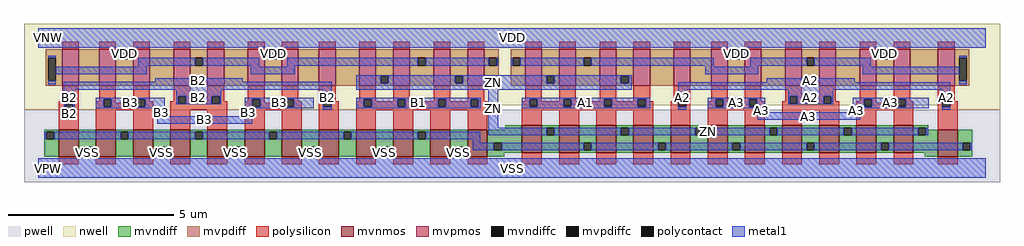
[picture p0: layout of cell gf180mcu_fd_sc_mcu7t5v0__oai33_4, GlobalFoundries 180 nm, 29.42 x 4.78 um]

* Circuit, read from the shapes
.subckt gf180mcu_fd_sc_mcu7t5v0__oai33_4 A1 A2 A3 B1 B2 B3 ZN VDD VNW VPW VSS
XM1 VSS B2 n1 VPW nfet_06v0 w=0.82u l=0.6u m=4
XM2 n1 B3 VSS VPW nfet_06v0 w=0.82u l=0.6u m=4
XM3 VSS B1 n1 VPW nfet_06v0 w=0.82u l=0.6u m=4
XM4 ZN A1 n1 VPW nfet_06v0 w=0.82u l=0.6u m=4
XM5 ZN A2 n1 VPW nfet_06v0 w=0.82u l=0.6u m=4
XM6 n1 A3 ZN VPW nfet_06v0 w=0.82u l=0.6u m=4
XM7 n2 B2 n3 VNW pfet_06v0 w=1.095u l=0.5u
XM8 VDD B3 n2 VNW pfet_06v0 w=1.095u l=0.5u
XM9 n4 B3 VDD VNW pfet_06v0 w=1.095u l=0.5u
XM10 n3 B2 n4 VNW pfet_06v0 w=1.095u l=0.5u
XM11 n5 B2 n3 VNW pfet_06v0 w=1.095u l=0.5u
XM12 VDD B3 n5 VNW pfet_06v0 w=1.095u l=0.5u
XM13 n6 B3 VDD VNW pfet_06v0 w=1.095u l=0.5u
XM14 n7 B2 n6 VNW pfet_06v0 w=1.095u l=0.5u
XM15 ZN B1 n7 VNW pfet_06v0 w=1.095u l=0.5u
XM16 n3 B1 ZN VNW pfet_06v0 w=1.095u l=0.5u m=3
XM17 ZN A1 n8 VNW pfet_06v0 w=1.095u l=0.5u m=3
XM18 n9 A1 ZN VNW pfet_06v0 w=1.095u l=0.5u
XM19 n10 A2 n9 VNW pfet_06v0 w=1.095u l=0.5u
XM20 VDD A3 n10 VNW pfet_06v0 w=1.095u l=0.5u
XM21 n11 A3 VDD VNW pfet_06v0 w=1.095u l=0.5u
XM22 n8 A2 n11 VNW pfet_06v0 w=1.095u l=0.5u
XM23 n12 A2 n8 VNW pfet_06v0 w=1.095u l=0.5u
XM24 VDD A3 n12 VNW pfet_06v0 w=1.095u l=0.5u
XM25 n13 A3 VDD VNW pfet_06v0 w=1.095u l=0.5u
XM26 n8 A2 n13 VNW pfet_06v0 w=1.095u l=0.5u
.ends

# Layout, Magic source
magic
tech gf180mcuD
magscale 1 10
<< nwell >>
rect -86 377 5798 870
rect -86 352 2710 377
rect 5447 352 5798 377
<< pwell >>
rect -86 -86 5798 352
<< mvnmos >>
rect 124 68 244 232
rect 348 68 468 232
rect 572 68 692 232
rect 796 68 916 232
rect 1020 68 1140 232
rect 1244 68 1364 232
rect 1468 68 1588 232
rect 1692 68 1812 232
rect 1916 68 2036 232
rect 2140 68 2260 232
rect 2364 68 2484 232
rect 2588 68 2708 232
rect 2916 93 3036 257
rect 3140 93 3260 257
rect 3364 93 3484 257
rect 3588 93 3708 257
rect 3812 93 3932 257
rect 4036 93 4156 257
rect 4260 93 4380 257
rect 4484 93 4604 257
rect 4708 93 4828 257
rect 4932 93 5052 257
rect 5156 93 5276 257
rect 5424 68 5544 232
<< mvpmos >>
rect 144 497 244 716
rect 368 497 468 716
rect 572 497 672 716
rect 816 497 916 716
rect 1020 497 1120 716
rect 1264 497 1364 716
rect 1468 497 1568 716
rect 1692 497 1792 716
rect 1936 497 2036 716
rect 2140 497 2240 716
rect 2384 497 2484 716
rect 2588 497 2688 716
rect 2936 497 3036 716
rect 3140 497 3240 716
rect 3384 497 3484 716
rect 3588 497 3688 716
rect 3832 497 3932 716
rect 4056 497 4156 716
rect 4260 497 4360 716
rect 4504 497 4604 716
rect 4708 497 4808 716
rect 4952 497 5052 716
rect 5156 497 5256 716
rect 5424 497 5524 716
<< mvndiff >>
rect 2816 232 2916 257
rect 36 219 124 232
rect 36 173 49 219
rect 95 173 124 219
rect 36 68 124 173
rect 244 127 348 232
rect 244 81 273 127
rect 319 81 348 127
rect 244 68 348 81
rect 468 219 572 232
rect 468 173 497 219
rect 543 173 572 219
rect 468 68 572 173
rect 692 127 796 232
rect 692 81 721 127
rect 767 81 796 127
rect 692 68 796 81
rect 916 219 1020 232
rect 916 173 945 219
rect 991 173 1020 219
rect 916 68 1020 173
rect 1140 127 1244 232
rect 1140 81 1169 127
rect 1215 81 1244 127
rect 1140 68 1244 81
rect 1364 219 1468 232
rect 1364 173 1393 219
rect 1439 173 1468 219
rect 1364 68 1468 173
rect 1588 127 1692 232
rect 1588 81 1617 127
rect 1663 81 1692 127
rect 1588 68 1692 81
rect 1812 219 1916 232
rect 1812 173 1841 219
rect 1887 173 1916 219
rect 1812 68 1916 173
rect 2036 127 2140 232
rect 2036 81 2065 127
rect 2111 81 2140 127
rect 2036 68 2140 81
rect 2260 219 2364 232
rect 2260 173 2289 219
rect 2335 173 2364 219
rect 2260 68 2364 173
rect 2484 127 2588 232
rect 2484 81 2513 127
rect 2559 81 2588 127
rect 2484 68 2588 81
rect 2708 152 2916 232
rect 2708 106 2747 152
rect 2793 106 2916 152
rect 2708 93 2916 106
rect 3036 244 3140 257
rect 3036 198 3065 244
rect 3111 198 3140 244
rect 3036 93 3140 198
rect 3260 152 3364 257
rect 3260 106 3289 152
rect 3335 106 3364 152
rect 3260 93 3364 106
rect 3484 244 3588 257
rect 3484 198 3513 244
rect 3559 198 3588 244
rect 3484 93 3588 198
rect 3708 152 3812 257
rect 3708 106 3737 152
rect 3783 106 3812 152
rect 3708 93 3812 106
rect 3932 244 4036 257
rect 3932 198 3961 244
rect 4007 198 4036 244
rect 3932 93 4036 198
rect 4156 152 4260 257
rect 4156 106 4185 152
rect 4231 106 4260 152
rect 4156 93 4260 106
rect 4380 244 4484 257
rect 4380 198 4409 244
rect 4455 198 4484 244
rect 4380 93 4484 198
rect 4604 152 4708 257
rect 4604 106 4633 152
rect 4679 106 4708 152
rect 4604 93 4708 106
rect 4828 244 4932 257
rect 4828 198 4857 244
rect 4903 198 4932 244
rect 4828 93 4932 198
rect 5052 152 5156 257
rect 5052 106 5081 152
rect 5127 106 5156 152
rect 5052 93 5156 106
rect 5276 244 5364 257
rect 5276 198 5305 244
rect 5351 232 5364 244
rect 5351 198 5424 232
rect 5276 93 5424 198
rect 2708 68 2808 93
rect 5344 68 5424 93
rect 5544 152 5632 232
rect 5544 106 5573 152
rect 5619 106 5632 152
rect 5544 68 5632 106
<< mvpdiff >>
rect 46 665 144 716
rect 46 525 59 665
rect 105 525 144 665
rect 46 497 144 525
rect 244 497 368 716
rect 468 703 572 716
rect 468 657 497 703
rect 543 657 572 703
rect 468 497 572 657
rect 672 497 816 716
rect 916 664 1020 716
rect 916 618 945 664
rect 991 618 1020 664
rect 916 497 1020 618
rect 1120 497 1264 716
rect 1364 703 1468 716
rect 1364 657 1393 703
rect 1439 657 1468 703
rect 1364 497 1468 657
rect 1568 497 1692 716
rect 1792 497 1936 716
rect 2036 556 2140 716
rect 2036 510 2065 556
rect 2111 510 2140 556
rect 2036 497 2140 510
rect 2240 664 2384 716
rect 2240 618 2289 664
rect 2335 618 2384 664
rect 2240 497 2384 618
rect 2484 556 2588 716
rect 2484 510 2513 556
rect 2559 510 2588 556
rect 2484 497 2588 510
rect 2688 664 2776 716
rect 2688 618 2717 664
rect 2763 618 2776 664
rect 2688 497 2776 618
rect 2848 664 2936 716
rect 2848 618 2861 664
rect 2907 618 2936 664
rect 2848 497 2936 618
rect 3036 556 3140 716
rect 3036 510 3065 556
rect 3111 510 3140 556
rect 3036 497 3140 510
rect 3240 664 3384 716
rect 3240 618 3289 664
rect 3335 618 3384 664
rect 3240 497 3384 618
rect 3484 556 3588 716
rect 3484 510 3513 556
rect 3559 510 3588 556
rect 3484 497 3588 510
rect 3688 497 3832 716
rect 3932 497 4056 716
rect 4156 703 4260 716
rect 4156 657 4185 703
rect 4231 657 4260 703
rect 4156 497 4260 657
rect 4360 497 4504 716
rect 4604 664 4708 716
rect 4604 618 4633 664
rect 4679 618 4708 664
rect 4604 497 4708 618
rect 4808 497 4952 716
rect 5052 703 5156 716
rect 5052 657 5081 703
rect 5127 657 5156 703
rect 5052 497 5156 657
rect 5256 497 5424 716
rect 5524 665 5612 716
rect 5524 525 5553 665
rect 5599 525 5612 665
rect 5524 497 5612 525
<< mvndiffc >>
rect 49 173 95 219
rect 273 81 319 127
rect 497 173 543 219
rect 721 81 767 127
rect 945 173 991 219
rect 1169 81 1215 127
rect 1393 173 1439 219
rect 1617 81 1663 127
rect 1841 173 1887 219
rect 2065 81 2111 127
rect 2289 173 2335 219
rect 2513 81 2559 127
rect 2747 106 2793 152
rect 3065 198 3111 244
rect 3289 106 3335 152
rect 3513 198 3559 244
rect 3737 106 3783 152
rect 3961 198 4007 244
rect 4185 106 4231 152
rect 4409 198 4455 244
rect 4633 106 4679 152
rect 4857 198 4903 244
rect 5081 106 5127 152
rect 5305 198 5351 244
rect 5573 106 5619 152
<< mvpdiffc >>
rect 59 525 105 665
rect 497 657 543 703
rect 945 618 991 664
rect 1393 657 1439 703
rect 2065 510 2111 556
rect 2289 618 2335 664
rect 2513 510 2559 556
rect 2717 618 2763 664
rect 2861 618 2907 664
rect 3065 510 3111 556
rect 3289 618 3335 664
rect 3513 510 3559 556
rect 4185 657 4231 703
rect 4633 618 4679 664
rect 5081 657 5127 703
rect 5553 525 5599 665
<< polysilicon >>
rect 144 716 244 760
rect 368 716 468 760
rect 572 716 672 760
rect 816 716 916 760
rect 1020 716 1120 760
rect 1264 716 1364 760
rect 1468 716 1568 760
rect 1692 716 1792 760
rect 1936 716 2036 760
rect 2140 716 2240 760
rect 2384 716 2484 760
rect 2588 716 2688 760
rect 2936 716 3036 760
rect 3140 716 3240 760
rect 3384 716 3484 760
rect 3588 716 3688 760
rect 3832 716 3932 760
rect 4056 716 4156 760
rect 4260 716 4360 760
rect 4504 716 4604 760
rect 4708 716 4808 760
rect 4952 716 5052 760
rect 5156 716 5256 760
rect 5424 716 5524 760
rect 144 402 244 497
rect 368 415 468 497
rect 368 402 395 415
rect 124 383 244 402
rect 124 337 164 383
rect 210 337 244 383
rect 124 232 244 337
rect 348 369 395 402
rect 441 394 468 415
rect 572 415 672 497
rect 572 394 599 415
rect 441 369 599 394
rect 645 402 672 415
rect 816 433 916 497
rect 816 402 843 433
rect 645 369 692 402
rect 348 348 692 369
rect 348 232 468 348
rect 572 232 692 348
rect 796 387 843 402
rect 889 394 916 433
rect 1020 433 1120 497
rect 1020 394 1047 433
rect 889 387 1047 394
rect 1093 402 1120 433
rect 1264 415 1364 497
rect 1264 402 1291 415
rect 1093 387 1140 402
rect 796 348 1140 387
rect 796 232 916 348
rect 1020 232 1140 348
rect 1244 369 1291 402
rect 1337 394 1364 415
rect 1468 415 1568 497
rect 1468 394 1495 415
rect 1337 369 1495 394
rect 1541 402 1568 415
rect 1692 415 1792 497
rect 1541 369 1588 402
rect 1244 348 1588 369
rect 1244 232 1364 348
rect 1468 232 1588 348
rect 1692 369 1719 415
rect 1765 402 1792 415
rect 1936 415 2036 497
rect 1936 402 1963 415
rect 1765 369 1812 402
rect 1692 232 1812 369
rect 1916 369 1963 402
rect 2009 402 2036 415
rect 2140 415 2240 497
rect 2140 402 2167 415
rect 2009 369 2167 402
rect 2213 402 2240 415
rect 2384 415 2484 497
rect 2384 402 2411 415
rect 2213 369 2411 402
rect 2457 402 2484 415
rect 2588 415 2688 497
rect 2588 402 2608 415
rect 2457 369 2608 402
rect 2654 402 2688 415
rect 2936 415 3036 497
rect 2936 402 2963 415
rect 2654 369 2708 402
rect 1916 348 2708 369
rect 1916 232 2036 348
rect 2140 232 2260 348
rect 2364 232 2484 348
rect 2588 232 2708 348
rect 2916 369 2963 402
rect 3009 402 3036 415
rect 3140 415 3240 497
rect 3140 402 3167 415
rect 3009 369 3167 402
rect 3213 402 3240 415
rect 3384 415 3484 497
rect 3384 402 3411 415
rect 3213 369 3411 402
rect 3457 402 3484 415
rect 3588 415 3688 497
rect 3588 402 3615 415
rect 3457 369 3615 402
rect 3661 402 3688 415
rect 3832 415 3932 497
rect 3832 402 3859 415
rect 3661 369 3708 402
rect 2916 348 3708 369
rect 2916 257 3036 348
rect 3140 257 3260 348
rect 3364 257 3484 348
rect 3588 257 3708 348
rect 3812 369 3859 402
rect 3905 369 3932 415
rect 4056 415 4156 497
rect 4056 402 4083 415
rect 3812 257 3932 369
rect 4036 369 4083 402
rect 4129 394 4156 415
rect 4260 415 4360 497
rect 4260 394 4287 415
rect 4129 369 4287 394
rect 4333 402 4360 415
rect 4504 433 4604 497
rect 4504 402 4531 433
rect 4333 369 4380 402
rect 4036 348 4380 369
rect 4036 257 4156 348
rect 4260 257 4380 348
rect 4484 387 4531 402
rect 4577 394 4604 433
rect 4708 433 4808 497
rect 4708 394 4735 433
rect 4577 387 4735 394
rect 4781 402 4808 433
rect 4952 415 5052 497
rect 4952 402 4979 415
rect 4781 387 4828 402
rect 4484 348 4828 387
rect 4484 257 4604 348
rect 4708 257 4828 348
rect 4932 369 4979 402
rect 5025 394 5052 415
rect 5156 415 5256 497
rect 5156 394 5183 415
rect 5025 369 5183 394
rect 5229 402 5256 415
rect 5424 415 5524 497
rect 5229 369 5276 402
rect 4932 348 5276 369
rect 4932 257 5052 348
rect 5156 257 5276 348
rect 5424 369 5451 415
rect 5497 402 5524 415
rect 5497 369 5544 402
rect 5424 232 5544 369
rect 124 24 244 68
rect 348 24 468 68
rect 572 24 692 68
rect 796 24 916 68
rect 1020 24 1140 68
rect 1244 24 1364 68
rect 1468 24 1588 68
rect 1692 24 1812 68
rect 1916 24 2036 68
rect 2140 24 2260 68
rect 2364 24 2484 68
rect 2588 24 2708 68
rect 2916 24 3036 93
rect 3140 24 3260 93
rect 3364 24 3484 93
rect 3588 24 3708 93
rect 3812 24 3932 93
rect 4036 24 4156 93
rect 4260 24 4380 93
rect 4484 24 4604 93
rect 4708 24 4828 93
rect 4932 24 5052 93
rect 5156 24 5276 93
rect 5424 24 5544 68
<< polycontact >>
rect 164 337 210 383
rect 395 369 441 415
rect 599 369 645 415
rect 843 387 889 433
rect 1047 387 1093 433
rect 1291 369 1337 415
rect 1495 369 1541 415
rect 1719 369 1765 415
rect 1963 369 2009 415
rect 2167 369 2213 415
rect 2411 369 2457 415
rect 2608 369 2654 415
rect 2963 369 3009 415
rect 3167 369 3213 415
rect 3411 369 3457 415
rect 3615 369 3661 415
rect 3859 369 3905 415
rect 4083 369 4129 415
rect 4287 369 4333 415
rect 4531 387 4577 433
rect 4735 387 4781 433
rect 4979 369 5025 415
rect 5183 369 5229 415
rect 5451 369 5497 415
<< metal1 >>
rect 0 724 5712 844
rect 486 703 554 724
rect 59 665 105 676
rect 486 657 497 703
rect 543 657 554 703
rect 1382 703 1450 724
rect 604 618 945 664
rect 991 618 1332 664
rect 1382 657 1393 703
rect 1439 657 1450 703
rect 4174 703 4242 724
rect 604 611 654 618
rect 105 565 654 611
rect 1282 611 1332 618
rect 1500 618 2289 664
rect 2335 618 2717 664
rect 2763 618 2774 664
rect 2848 618 2861 664
rect 2907 618 3289 664
rect 3335 618 4071 664
rect 4174 657 4185 703
rect 4231 657 4242 703
rect 5070 703 5138 724
rect 1500 611 1546 618
rect 1282 565 1546 611
rect 4022 611 4071 618
rect 4292 618 4633 664
rect 4679 618 5020 664
rect 5070 657 5081 703
rect 5127 657 5138 703
rect 5553 665 5599 676
rect 4292 611 4341 618
rect 4022 565 4341 611
rect 4971 611 5020 618
rect 4971 565 5553 611
rect 1916 556 3578 559
rect 59 506 105 525
rect 704 519 1232 540
rect 155 472 1768 519
rect 1916 510 2065 556
rect 2111 510 2513 556
rect 2559 510 3065 556
rect 3111 510 3513 556
rect 3559 510 3578 556
rect 4391 518 4921 542
rect 1916 472 3578 510
rect 3858 472 5498 518
rect 5553 506 5599 525
rect 155 383 219 472
rect 832 433 1104 472
rect 155 337 164 383
rect 210 337 219 383
rect 348 415 764 424
rect 348 369 395 415
rect 441 369 599 415
rect 645 369 764 415
rect 832 387 843 433
rect 889 387 1047 433
rect 1093 387 1104 433
rect 832 384 1104 387
rect 1244 415 1662 424
rect 348 360 764 369
rect 155 306 219 337
rect 718 313 764 360
rect 1244 369 1291 415
rect 1337 369 1495 415
rect 1541 369 1662 415
rect 1244 360 1662 369
rect 1716 415 1768 472
rect 1716 369 1719 415
rect 1765 369 1768 415
rect 1244 313 1290 360
rect 1716 352 1768 369
rect 1916 415 2668 424
rect 1916 369 1963 415
rect 2009 369 2167 415
rect 2213 369 2411 415
rect 2457 369 2608 415
rect 2654 369 2668 415
rect 1916 360 2668 369
rect 718 267 1290 313
rect 2714 244 2774 472
rect 2916 415 3688 424
rect 2916 369 2963 415
rect 3009 369 3167 415
rect 3213 369 3411 415
rect 3457 369 3615 415
rect 3661 369 3688 415
rect 2916 360 3688 369
rect 3858 415 3906 472
rect 4520 433 4792 472
rect 3858 369 3859 415
rect 3905 369 3906 415
rect 3858 352 3906 369
rect 4036 415 4383 424
rect 4036 369 4083 415
rect 4129 369 4287 415
rect 4333 369 4383 415
rect 4520 387 4531 433
rect 4577 387 4735 433
rect 4781 387 4792 433
rect 4520 384 4792 387
rect 4909 415 5367 424
rect 4036 360 4383 369
rect 4337 336 4383 360
rect 4909 369 4979 415
rect 5025 369 5183 415
rect 5229 369 5367 415
rect 4909 360 5367 369
rect 5450 415 5498 472
rect 5450 369 5451 415
rect 5497 369 5498 415
rect 4909 336 4955 360
rect 5450 352 5498 369
rect 4337 290 4955 336
rect 36 173 49 219
rect 95 173 497 219
rect 543 173 945 219
rect 991 173 1393 219
rect 1439 173 1841 219
rect 1887 173 2289 219
rect 2335 173 2666 219
rect 2714 198 3065 244
rect 3111 198 3513 244
rect 3559 198 3961 244
rect 4007 198 4409 244
rect 4455 198 4857 244
rect 4903 198 5305 244
rect 5351 198 5364 244
rect 2620 152 2666 173
rect 262 81 273 127
rect 319 81 330 127
rect 262 60 330 81
rect 710 81 721 127
rect 767 81 778 127
rect 710 60 778 81
rect 1158 81 1169 127
rect 1215 81 1226 127
rect 1158 60 1226 81
rect 1606 81 1617 127
rect 1663 81 1674 127
rect 1606 60 1674 81
rect 2054 81 2065 127
rect 2111 81 2122 127
rect 2054 60 2122 81
rect 2502 81 2513 127
rect 2559 81 2570 127
rect 2620 106 2747 152
rect 2793 106 3289 152
rect 3335 106 3737 152
rect 3783 106 4185 152
rect 4231 106 4633 152
rect 4679 106 5081 152
rect 5127 106 5573 152
rect 5619 106 5632 152
rect 2502 60 2570 81
rect 0 -60 5712 60
<< labels >>
flabel metal1 s 4909 360 5367 424 0 FreeSans 400 0 0 0 A3
port 3 nsew default input
flabel metal1 s 1916 360 2668 424 0 FreeSans 400 0 0 0 B1
port 4 nsew default input
flabel metal1 s 704 519 1232 540 0 FreeSans 400 0 0 0 B2
port 5 nsew default input
flabel metal1 s 1244 360 1662 424 0 FreeSans 400 0 0 0 B3
port 6 nsew default input
flabel metal1 s 0 724 5712 844 0 FreeSans 400 0 0 0 VDD
port 8 nsew power bidirectional abutment
flabel metal1 s 2502 60 2570 127 0 FreeSans 400 0 0 0 VSS
port 11 nsew ground bidirectional abutment
flabel metal1 s 1916 472 3578 559 0 FreeSans 400 0 0 0 ZN
port 7 nsew default output
flabel metal1 s 2916 360 3688 424 0 FreeSans 400 0 0 0 A1
port 1 nsew default input
flabel metal1 s 4391 518 4921 542 0 FreeSans 400 0 0 0 A2
port 2 nsew default input
flabel nwell s 10 734 110 834 0 FreeSans 400 0 0 0 VNW
port 9 nsew power bidirectional
flabel pwell s 10 -50 110 50 0 FreeSans 400 0 0 0 VPW
port 10 nsew ground bidirectional
rlabel metal1 s 3858 472 5498 518 1 A2
port 2 nsew default input
rlabel metal1 s 5450 384 5498 472 1 A2
port 2 nsew default input
rlabel metal1 s 4520 384 4792 472 1 A2
port 2 nsew default input
rlabel metal1 s 3858 384 3906 472 1 A2
port 2 nsew default input
rlabel metal1 s 5450 352 5498 384 1 A2
port 2 nsew default input
rlabel metal1 s 3858 352 3906 384 1 A2
port 2 nsew default input
rlabel metal1 s 4036 360 4383 424 1 A3
port 3 nsew default input
rlabel metal1 s 4909 336 4955 360 1 A3
port 3 nsew default input
rlabel metal1 s 4337 336 4383 360 1 A3
port 3 nsew default input
rlabel metal1 s 4337 290 4955 336 1 A3
port 3 nsew default input
rlabel metal1 s 155 472 1768 519 1 B2
port 5 nsew default input
rlabel metal1 s 1716 384 1768 472 1 B2
port 5 nsew default input
rlabel metal1 s 832 384 1104 472 1 B2
port 5 nsew default input
rlabel metal1 s 155 384 219 472 1 B2
port 5 nsew default input
rlabel metal1 s 1716 352 1768 384 1 B2
port 5 nsew default input
rlabel metal1 s 155 352 219 384 1 B2
port 5 nsew default input
rlabel metal1 s 155 306 219 352 1 B2
port 5 nsew default input
rlabel metal1 s 348 360 764 424 1 B3
port 6 nsew default input
rlabel metal1 s 1244 313 1290 360 1 B3
port 6 nsew default input
rlabel metal1 s 718 313 764 360 1 B3
port 6 nsew default input
rlabel metal1 s 718 267 1290 313 1 B3
port 6 nsew default input
rlabel metal1 s 2714 244 2774 472 1 ZN
port 7 nsew default output
rlabel metal1 s 2714 198 5364 244 1 ZN
port 7 nsew default output
rlabel metal1 s 5070 657 5138 724 1 VDD
port 8 nsew power bidirectional abutment
rlabel metal1 s 4174 657 4242 724 1 VDD
port 8 nsew power bidirectional abutment
rlabel metal1 s 1382 657 1450 724 1 VDD
port 8 nsew power bidirectional abutment
rlabel metal1 s 486 657 554 724 1 VDD
port 8 nsew power bidirectional abutment
rlabel metal1 s 2054 60 2122 127 1 VSS
port 11 nsew ground bidirectional abutment
rlabel metal1 s 1606 60 1674 127 1 VSS
port 11 nsew ground bidirectional abutment
rlabel metal1 s 1158 60 1226 127 1 VSS
port 11 nsew ground bidirectional abutment
rlabel metal1 s 710 60 778 127 1 VSS
port 11 nsew ground bidirectional abutment
rlabel metal1 s 262 60 330 127 1 VSS
port 11 nsew ground bidirectional abutment
rlabel metal1 s 0 -60 5712 60 1 VSS
port 11 nsew ground bidirectional abutment
<< properties >>
string FIXED_BBOX 0 0 5712 784
string GDS_END 89142
string GDS_FILE $PDKPATH/libs.ref/gf180mcu_fd_sc_mcu7t5v0/gds/gf180mcu_fd_sc_mcu7t5v0.gds
string GDS_START 79500
string LEFclass core
string LEFsite GF018hv5v_mcu_sc7
string LEFsymmetry X Y
<< end >>
